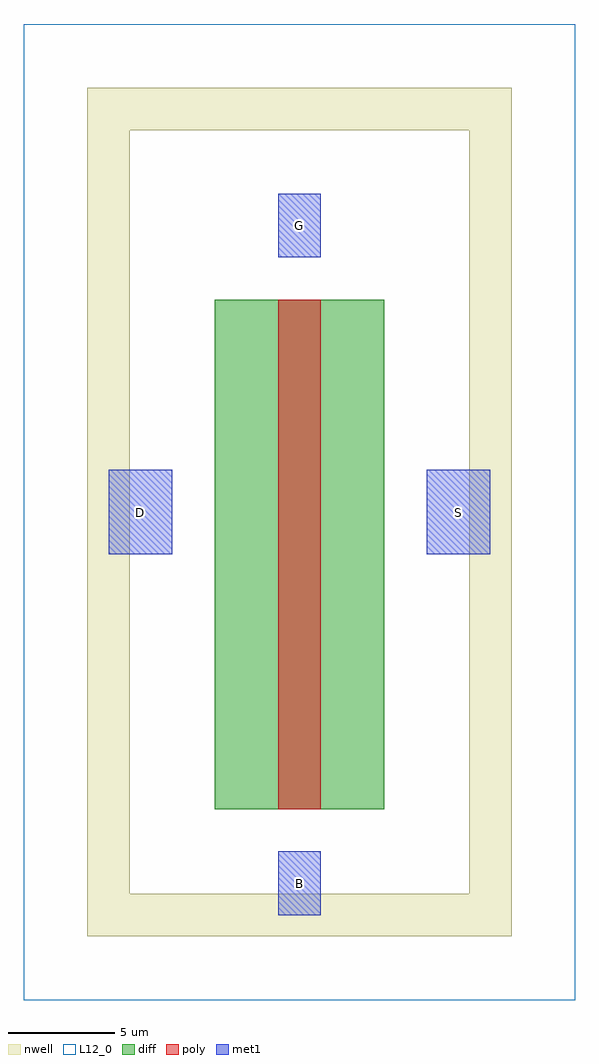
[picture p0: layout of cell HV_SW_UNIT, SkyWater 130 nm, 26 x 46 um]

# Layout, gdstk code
import gdstk
lib = gdstk.Library(unit=1e-6, precision=1e-09)
def R(c, l, rs):  # rectangles x0, y0, x1, y1
    for r in rs: c.add(gdstk.rectangle(r[:2], r[2:], *l))
def P(c, l, *ps):  # polygons
    for p in ps: c.add(gdstk.Polygon(p, *l))
L12_0 = (12, 0)
nwell = (64, 20)
diff = (65, 20)
poly = (66, 20)
met1 = (68, 20)

hv_sw_unit = lib.new_cell('HV_SW_UNIT')
R(hv_sw_unit, L12_0, [(-3,-3,23,43)])
P(hv_sw_unit, nwell, [(0,0),(0,38),(2,38),(2,2),(18,2),(18,38),(0,38),(0,40),(20,40),(20,0)])
R(hv_sw_unit, diff, [(6,6,14,30)])
R(hv_sw_unit, poly, [(9,6,11,30)])
R(hv_sw_unit, met1, [(9,1,11,4), (1,18,4,22), (16,18,19,22), (9,32,11,35)])
hv_sw_unit.add(gdstk.Label('D', (2.5,20), layer=100, texttype=0))
hv_sw_unit.add(gdstk.Label('S', (17.5,20), layer=100, texttype=0))
hv_sw_unit.add(gdstk.Label('G', (10,33.5), layer=100, texttype=0))
hv_sw_unit.add(gdstk.Label('B', (10,2.5), layer=100, texttype=0))

lib.write_gds('HV_SW_UNIT.gds')
